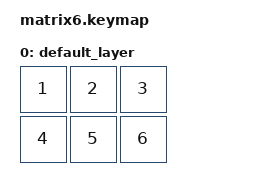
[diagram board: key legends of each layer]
#include <behaviors.dtsi>
#include <dt-bindings/zmk/keys.h>

/ {
    keymap {
        compatible = "zmk,keymap";

        default_layer {
            // 物理配置(2行3列):
            //  1  2  3
            //  4  5  6
            bindings = <
                &kp N1  &kp N2  &kp N3
                &kp N4  &kp N5  &kp N6
            >;
        };
    };
};
